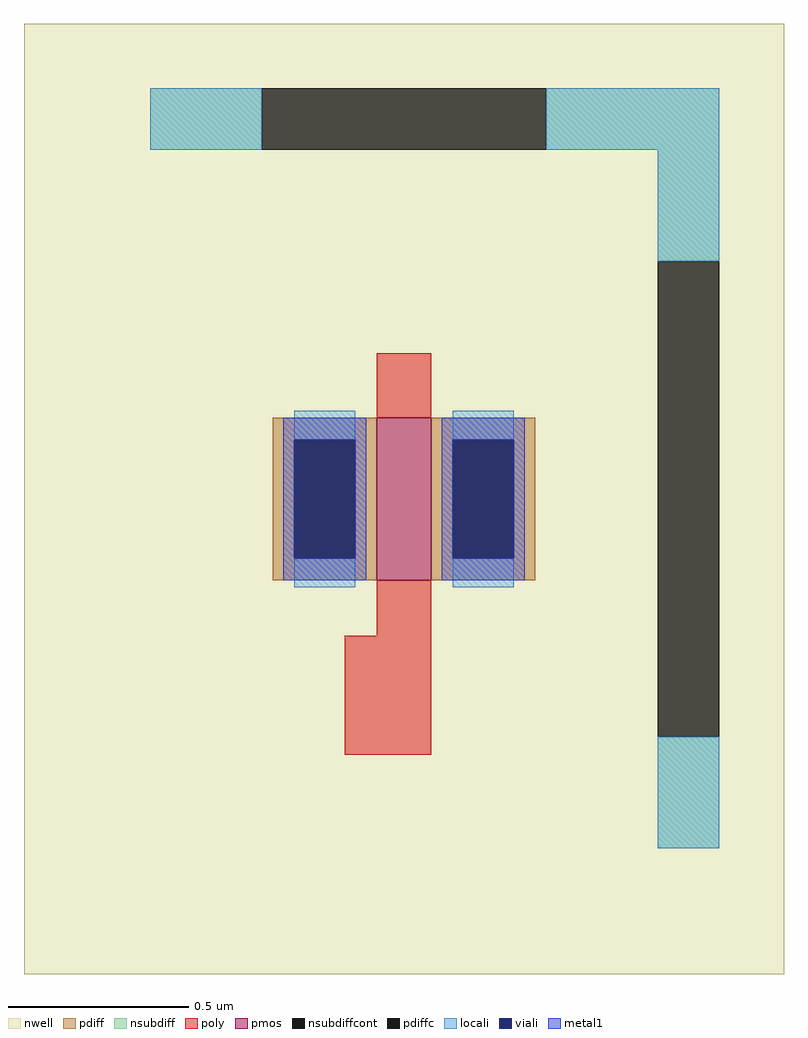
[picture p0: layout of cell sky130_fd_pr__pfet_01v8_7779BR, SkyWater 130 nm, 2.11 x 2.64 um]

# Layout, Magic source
magic
tech sky130A
magscale 1 2
<< nwell >>
rect -211 -264 211 264
<< pmos >>
rect -15 -45 15 45
<< pdiff >>
rect -73 33 -15 45
rect -73 -33 -61 33
rect -27 -33 -15 33
rect -73 -45 -15 -33
rect 15 33 73 45
rect 15 -33 27 33
rect 61 -33 73 33
rect 15 -45 73 -33
<< pdiffc >>
rect -61 -33 -27 33
rect 27 -33 61 33
<< nsubdiff >>
rect -141 194 -79 228
rect 79 194 175 228
rect 141 132 175 194
rect 141 -194 175 -132
<< nsubdiffcont >>
rect -79 194 79 228
rect 141 -132 175 132
<< poly >>
rect -15 45 15 81
rect -15 -76 15 -45
rect -33 -142 15 -76
<< locali >>
rect -141 194 -79 228
rect 79 194 175 228
rect 141 132 175 194
rect -61 33 -27 49
rect -61 -49 -27 -33
rect 27 33 61 49
rect 27 -49 61 -33
rect 141 -194 175 -132
<< viali >>
rect -61 -33 -27 33
rect 27 -33 61 33
<< metal1 >>
rect -67 33 -21 45
rect -67 -33 -61 33
rect -27 -33 -21 33
rect -67 -45 -21 -33
rect 21 33 67 45
rect 21 -33 27 33
rect 61 -33 67 33
rect 21 -45 67 -33
<< properties >>
string gencell sky130_fd_pr__pfet_01v8
string FIXED_BBOX -158 -211 158 211
string parameters w 0.45 l 0.15 m 1 nf 1 diffcov 100 polycov 100 guard 1 glc 1 grc 1 gtc 1 gbc 0 tbcov 100 rlcov 100 topc 1 botc 1 poverlap 0 doverlap 1 lmin 0.15 wmin 0.42 compatible {sky130_fd_pr__pfet_01v8  sky130_fd_pr__pfet_01v8_lvt sky130_fd_pr__pfet_01v8_hvt  sky130_fd_pr__pfet_g5v0d10v5} full_metal 1 viasrc 100 viadrn 100 viagate 100 viagb 0 viagr 0 viagl 0 viagt 0
string library sky130
<< end >>
